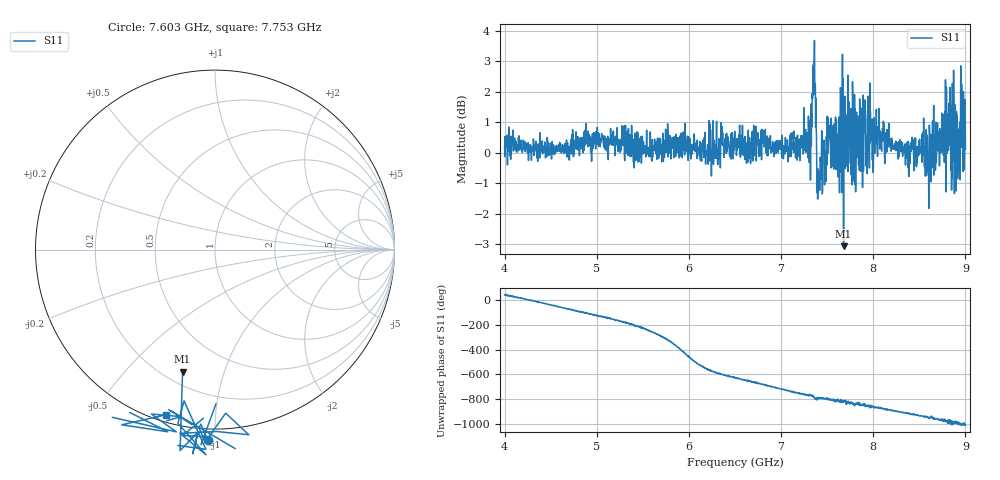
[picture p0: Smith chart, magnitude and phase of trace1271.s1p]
! Created with skrf 1.8.0 (http://scikit-rf.org).
# Hz S RI R 50.0
!freq ReS11 ImS11
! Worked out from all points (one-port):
!   1601 points, 4 GHz to 9 GHz, reference 50 ohm
!   lowest |S11| = -3.1 dB at 7.678 GHz (marker M1), VSWR 5.74, Z = 13.6 - j36.6 ohm
!   |S11| at or under -10 dB: nowhere
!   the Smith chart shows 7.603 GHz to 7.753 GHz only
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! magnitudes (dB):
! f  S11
! 4 GHz  0.1
! 4.625 GHz  0.0
! 4.894 GHz  0.3
! 5.25 GHz  0.0
! 5.875 GHz  0.0
! 6.5 GHz  0.3
! 7.125 GHz  0.2
! 7.294 GHz  -0.2
! 7.356 GHz  3.0
! 7.369 GHz  2.3
! 7.397 GHz  -1.5
! 7.412 GHz  -0.6
! 7.525 GHz  0.5
! 7.609 GHz  0.0
! 7.65 GHz  0.9
! 7.678 GHz  -3.1
! 7.75 GHz  0.9
! 7.825 GHz  0.5
! 7.962 GHz  2.3
! 8.375 GHz  0.3
! 8.522 GHz  0.1
! 8.616 GHz  0.6
! 8.819 GHz  0.3
! 8.841 GHz  1.6
! 8.884 GHz  1.6
! 8.919 GHz  -0.3
! 8.972 GHz  0.7
! 9 GHz  0.1
